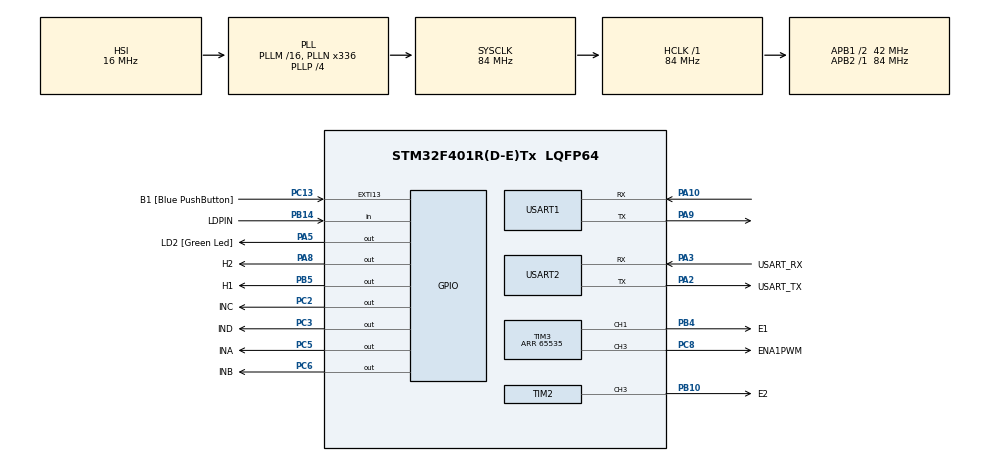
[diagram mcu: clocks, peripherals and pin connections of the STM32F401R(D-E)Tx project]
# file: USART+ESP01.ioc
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Mcu.Family=STM32F4
Mcu.Name=STM32F401R(D-E)Tx
Mcu.Package=LQFP64
NVIC.PriorityGroup=NVIC_PRIORITYGROUP_0
NVIC.USART1_IRQn=true\:0\:0\:false\:false\:true\:true\:true
PA10.Mode=Asynchronous
PA10.Signal=USART1_RX
PA13.GPIO_Label=TMS
PA13.Mode=Serial_Wire
PA13.Signal=SYS_JTMS-SWDIO
PA14.GPIO_Label=TCK
PA14.Mode=Serial_Wire
PA14.Signal=SYS_JTCK-SWCLK
PA2.GPIO_Label=USART_TX
PA2.GPIO_Mode=GPIO_MODE_AF_PP
PA2.GPIO_PuPd=GPIO_NOPULL
PA2.GPIO_Speed=GPIO_SPEED_FREQ_LOW
PA2.Mode=Asynchronous
PA2.Signal=USART2_TX
PA3.GPIO_Label=USART_RX
PA3.GPIO_Mode=GPIO_MODE_AF_PP
PA3.GPIO_PuPd=GPIO_NOPULL
PA3.GPIO_Speed=GPIO_SPEED_FREQ_LOW
PA3.Mode=Asynchronous
PA3.Signal=USART2_RX
PA5.GPIO_Label=LD2 [Green Led]
PA5.GPIO_Mode=GPIO_MODE_OUTPUT_PP
PA5.GPIO_PuPd=GPIO_NOPULL
PA5.GPIO_Speed=GPIO_SPEED_FREQ_LOW
PA5.Signal=GPIO_Output
PA8.GPIO_Label=H2
PA8.Signal=GPIO_Output
PA9.Mode=Asynchronous
PA9.Signal=USART1_TX
PB10.GPIO_Label=E2
PB10.GPIO_Speed=GPIO_SPEED_FREQ_HIGH
PB10.Signal=S_TIM2_CH3
PB14.GPIO_Label=LDPIN
PB14.GPIO_PuPd=GPIO_PULLDOWN
PB14.Signal=GPIO_Input
PB3.GPIO_Label=SWO
PB3.Signal=SYS_JTDO-SWO
PB4.GPIO_Label=E1
PB4.GPIO_Speed=GPIO_SPEED_FREQ_HIGH
PB4.Signal=S_TIM3_CH1
PB5.GPIO_Label=H1
PB5.Signal=GPIO_Output
PC13-ANTI_TAMP.GPIO_Label=B1 [Blue PushButton]
PC13-ANTI_TAMP.GPIO_ModeDefaultEXTI=GPIO_MODE_IT_FALLING
PC13-ANTI_TAMP.GPIO_PuPd=GPIO_NOPULL
PC13-ANTI_TAMP.Signal=GPXTI13
PC14-OSC32_IN.Mode=LSE-External-Oscillator
PC14-OSC32_IN.Signal=RCC_OSC32_IN
PC15-OSC32_OUT.Mode=LSE-External-Oscillator
PC15-OSC32_OUT.Signal=RCC_OSC32_OUT
PC2.GPIO_Label=INC
PC2.Signal=GPIO_Output
PC3.GPIO_Label=IND
PC3.Signal=GPIO_Output
PC5.GPIO_Label=INA
PC5.Signal=GPIO_Output
PC6.GPIO_Label=INB
PC6.Signal=GPIO_Output
PC8.GPIO_Label=ENA1PWM
PC8.GPIO_Speed=GPIO_SPEED_FREQ_HIGH
PC8.Signal=S_TIM3_CH3
PH0\ -\ OSC_IN.Mode=HSE-External-Clock-Source
PH0\ -\ OSC_IN.Signal=RCC_OSC_IN
PH1\ -\ OSC_OUT.Mode=HSE-External-Clock-Source
PH1\ -\ OSC_OUT.Signal=RCC_OSC_OUT
ProjectManager.HeapSize=0x200
ProjectManager.StackSize=0x400
ProjectManager.TargetToolchain=MDK-ARM V5.27
RCC.48MHZClocksFreq_Value=48000000
RCC.AHBFreq_Value=84000000
RCC.APB1CLKDivider=RCC_HCLK_DIV2
RCC.APB1Freq_Value=42000000
RCC.APB1TimFreq_Value=84000000
RCC.APB2Freq_Value=84000000
RCC.APB2TimFreq_Value=84000000
RCC.CortexFreq_Value=84000000
RCC.HCLKFreq_Value=84000000
RCC.HSE_VALUE=8000000
RCC.HSI_VALUE=16000000
RCC.PLLN=336
RCC.PLLP=RCC_PLLP_DIV4
RCC.PLLQ=7
RCC.SYSCLKFreq_VALUE=84000000
RCC.SYSCLKSource=RCC_SYSCLKSOURCE_PLLCLK
RCC.VCOOutputFreq_Value=336000000
SH.S_TIM2_CH3.0=TIM2_CH3,PWM Generation3 CH3
SH.S_TIM3_CH1.0=TIM3_CH1,PWM Generation1 CH1
SH.S_TIM3_CH3.0=TIM3_CH3,PWM Generation3 CH3
TIM2.Channel-PWM\ Generation3\ CH3=TIM_CHANNEL_3
TIM2.Period=65535
TIM3.Channel-PWM\ Generation1\ CH1=TIM_CHANNEL_1
TIM3.Channel-PWM\ Generation3\ CH3=TIM_CHANNEL_3
TIM3.Period=65535
USART1.VirtualMode=VM_ASYNC
USART2.VirtualMode=VM_ASYNC
VP_TIM2_VS_ClockSourceINT.Mode=Internal
board=NUCLEO-F401RE

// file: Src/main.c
/* USER CODE BEGIN Header */
/**
  ******************************************************************************
  * @file           : main.c
  * @brief          : Main program body
  ******************************************************************************
  * @attention
  *
  * <h2><center>&copy; Copyright (c) 2021 STMicroelectronics.
  * All rights reserved.</center></h2>
  *
  * This software component is licensed by ST under BSD 3-Clause license,
  * the "License"; You may not use this file except in compliance with the
  * License. You may obtain a copy of the License at:
  *                        opensource.org/licenses/BSD-3-Clause
  *
  ******************************************************************************
  */
/* USER CODE END Header */

#include "main.h"
#include "string.h"
#include "esp_01.h"
//#include "Setings.h"
#include <stdio.h>
#include <stdbool.h>
#include <stdlib.h>

/* USER CODE BEGIN PD */
#define SPEED_1      TIM3->CCR1//5
#define DIR_1        GPIOB,GPIO_PIN_5//4

#define SPEED_2      TIM2->CCR3//6
#define DIR_2        GPIOA,GPIO_PIN_8//7

#define RX_BUF_MASK 1024-1
/* USER CODE END PD */

TIM_HandleTypeDef htim2;
TIM_HandleTypeDef htim3;

UART_HandleTypeDef huart1;
UART_HandleTypeDef huart2;

void SystemClock_Config(void);
static void MX_GPIO_Init(void);
static void MX_USART2_UART_Init(void);
static void MX_USART1_UART_Init(void);
static void MX_TIM3_Init(void);
static void MX_TIM2_Init(void);
/* USER CODE BEGIN PFP */
void clear_rx_buf(void);
uint8_t check_answer(char *str,uint16_t wait);
void usart1_send_string(const char str[]);
void usart2_send_string(const char str[]);
void esp_Start2(void);
void ESP_AP_START(void);
void esp_Start(void);
void close_conections(void);
void usart1_reciv_string(void);
void recive(void);
void clear_Mess(void);
void MOVE(void);
void Start(void);

//-------------motor-------------
void forward(void);
void back(void);
void left(void);
void right(void);
void tank_left(void);
void tank_right(void);
void stop(void);
//-------------motor-------------
void parse_PAGE(void);
char AP_or_ST[] = "AP";// station - ST, access poin == AP
char *p1 = NULL,*p2 = NULL,*p3 = NULL,*p4 = NULL;
char apName[40]="";
char apPass[40]="";
char ipServer[40]="";
char typeAPorST[40]="";
bool flag_for_page =true;
const char acsessPoint[20]="Mi 9T Pro";
const char acsessPass[20]="qwertyuiop223";
const char serverIp [15]= "192.168.43.76";
const char conn_TCP2 []= "AT+CIPSTART=\"TCP\",\"192.168.43.76\",9076\r\n";

bool RC = true;// Kostil na vremja
uint16_t motor_speed = 65535;
uint32_t speed;

//void recive(void);
#define ITM_Port8(n)    (*((volatile unsigned char *)(0xE0000000+4*n)))
#define ITM_Port16(n)   (*((volatile unsigned short*)(0xE0000000+4*n)))
#define ITM_Port32(n)   (*((volatile unsigned long *)(0xE0000000+4*n)))
#define DEMCR           (*((volatile unsigned long *)(0xE000EDFC)))
#define TRCENA           0x01000000

struct __FILE { int handle;};
FILE __stdout;
FILE __stdin;

int fputc(int ch, FILE *f) {
   if (DEMCR & TRCENA) {

while (ITM_Port32(0) == 0){};
    ITM_Port8(0) = ch;
  }
  return(ch);
}

/* USER CODE END PFP */

/* USER CODE BEGIN 0 */
char test[] = "AT\r\n";
char sendbuf[50];
char rx_buf[1024]="";
volatile uint16_t rx_pos=0;

//const char conn_TCP2 []= "AT+CIPSTART=\"TCP\",\"192.168.8.100\",9076\r\n";
const uint16_t serverPort = 9076;

//+++++++++++++++++++++++++++++++++++++++++++++++++++++++++++++++++++++++++++++++//
//=================================SETTINGS======================================//
//+++++++++++++++++++++++++++++++++++++++++++++++++++++++++++++++++++++++++++++++//

char mess[50]="";

/* USER CODE END 0 */

int main(void)
{

  /* MCU Configuration--------------------------------------------------------*/

  /* Reset of all peripherals, Initializes the Flash interface and the Systick. */
  HAL_Init();

  /* Configure the system clock */
  SystemClock_Config();

  /* Initialize all configured peripherals */
  MX_GPIO_Init();
  MX_USART2_UART_Init();
  MX_USART1_UART_Init();
  MX_TIM3_Init();
  MX_TIM2_Init();

  /* Infinite loop */
 /* USER CODE BEGIN WHILE */
	uint8_t step=0;
	char str[] = "";
	char send[]="";
	//char test_string []= " hello";

__HAL_UART_ENABLE_IT(&huart1, UART_IT_RXNE);
	HAL_TIM_PWM_Start(&htim3, TIM_CHANNEL_1);// start PWM
	HAL_TIM_PWM_Start(&htim2, TIM_CHANNEL_3);// start PWM
	HAL_TIM_PWM_Start(&htim3, TIM_CHANNEL_3);// start PWM
//esp_Start();
//
uint32_t foto = 0;
sprintf(str,"%s%s","\r\nINIT FINISHED","\r\n");
usart2_send_string(str);
Start();

///////////////////////////////////////////////////////////////////ACCESS POINT/////////////////////////////////////////////////////////////////////////
/*
else if (strncmp(AP_or_ST, "AP", strlen(AP_or_ST))==0)// Start like Access Point
{

if(setting_ap == true)// configuring the robot via the browser
	{

	}
if (remote_control == true)
	{
		usart2_send_string("remote controll");
		usart2_send_string("Access point ip: ");
		//usart1_send_string(chek_ip);
		clear_rx_buf();
		while(1)
			{
				usart2_send_string(rx_buf);
				//clear_rx_buf();
				HAL_Delay(1000);
			}
	}
}
////////////////////////////////////////////////////////////////////////////////////////////////////////////////////////////////////////////ACCESS POINT
*/

//--------------------------------------- MOTOR TEST---------------------------------------------
	/*
	while(1)
		{

			usart2_send_string("Motor test 1\r\n");
			//motor 1
		  HAL_GPIO_WritePin(GPIOC,GPIO_PIN_8,GPIO_PIN_SET);
			HAL_GPIO_WritePin(GPIOC,GPIO_PIN_5,GPIO_PIN_SET);
			HAL_GPIO_WritePin(GPIOC,GPIO_PIN_6,GPIO_PIN_RESET);
			//motor 2
			HAL_GPIO_WritePin(GPIOC,GPIO_PIN_1,GPIO_PIN_SET);
			HAL_GPIO_WritePin(GPIOC,GPIO_PIN_2,GPIO_PIN_SET);
			HAL_GPIO_WritePin(GPIOC,GPIO_PIN_3,GPIO_PIN_RESET);
			usart2_send_string("Motor test 2\r\n");
			HAL_Delay(1000);
			//motor 1
			HAL_GPIO_WritePin(GPIOC,GPIO_PIN_8,GPIO_PIN_SET);
			HAL_GPIO_WritePin(GPIOC,GPIO_PIN_5,GPIO_PIN_RESET);
			HAL_GPIO_WritePin(GPIOC,GPIO_PIN_6,GPIO_PIN_SET);
			//motor 2
			HAL_GPIO_WritePin(GPIOC,GPIO_PIN_1,GPIO_PIN_SET);
			HAL_GPIO_WritePin(GPIOC,GPIO_PIN_2,GPIO_PIN_RESET);
			HAL_GPIO_WritePin(GPIOC,GPIO_PIN_3,GPIO_PIN_SET);
			usart2_send_string("Motor test 3\r\n");
			HAL_Delay(1000);
			//motor 1
			HAL_GPIO_WritePin(GPIOC,GPIO_PIN_8,GPIO_PIN_RESET);
			HAL_GPIO_WritePin(GPIOC,GPIO_PIN_5,GPIO_PIN_RESET);
			HAL_GPIO_WritePin(GPIOC,GPIO_PIN_6,GPIO_PIN_RESET);
			//motor 2
			HAL_GPIO_WritePin(GPIOC,GPIO_PIN_1,GPIO_PIN_RESET);
			HAL_GPIO_WritePin(GPIOC,GPIO_PIN_2,GPIO_PIN_RESET);
			HAL_GPIO_WritePin(GPIOC,GPIO_PIN_3,GPIO_PIN_RESET);
			HAL_Delay(1000);
			*/
			/*

			//motor 1
			HAL_GPIO_WritePin(GPIOC,GPIO_PIN_8,GPIO_PIN_SET);
			HAL_GPIO_WritePin(GPIOC,GPIO_PIN_5,GPIO_PIN_RESET);
			HAL_GPIO_WritePin(GPIOC,GPIO_PIN_6,GPIO_PIN_SET);
			//motor 2
			HAL_GPIO_WritePin(GPIOC,GPIO_PIN_1,GPIO_PIN_SET);
			HAL_GPIO_WritePin(GPIOC,GPIO_PIN_2,GPIO_PIN_SET);
			HAL_GPIO_WritePin(GPIOC,GPIO_PIN_3,GPIO_PIN_RESET);

			HAL_Delay(1000);

		};

		*/
//--------------------------------------- MOTOR TEST---------------------------------------------
  /* USER CODE END 3 */
}

/**
  * @brief System Clock Configuration
  * @retval None
  */
void SystemClock_Config(void)
{
  RCC_OscInitTypeDef RCC_OscInitStruct = {0};
  RCC_ClkInitTypeDef RCC_ClkInitStruct = {0};

  /** Configure the main internal regulator output voltage
  */
  __HAL_RCC_PWR_CLK_ENABLE();
  __HAL_PWR_VOLTAGESCALING_CONFIG(PWR_REGULATOR_VOLTAGE_SCALE2);
  /** Initializes the CPU, AHB and APB busses clocks
  */
  RCC_OscInitStruct.OscillatorType = RCC_OSCILLATORTYPE_HSI;
  RCC_OscInitStruct.HSIState = RCC_HSI_ON;
  RCC_OscInitStruct.HSICalibrationValue = RCC_HSICALIBRATION_DEFAULT;
  RCC_OscInitStruct.PLL.PLLState = RCC_PLL_ON;
  RCC_OscInitStruct.PLL.PLLSource = RCC_PLLSOURCE_HSI;
  RCC_OscInitStruct.PLL.PLLM = 16;
  RCC_OscInitStruct.PLL.PLLN = 336;
  RCC_OscInitStruct.PLL.PLLP = RCC_PLLP_DIV4;
  RCC_OscInitStruct.PLL.PLLQ = 7;
  if (HAL_RCC_OscConfig(&RCC_OscInitStruct) != HAL_OK)
  {
    Error_Handler();
  }
  /** Initializes the CPU, AHB and APB busses clocks
  */
  RCC_ClkInitStruct.ClockType = RCC_CLOCKTYPE_HCLK|RCC_CLOCKTYPE_SYSCLK
                              |RCC_CLOCKTYPE_PCLK1|RCC_CLOCKTYPE_PCLK2;
  RCC_ClkInitStruct.SYSCLKSource = RCC_SYSCLKSOURCE_PLLCLK;
  RCC_ClkInitStruct.AHBCLKDivider = RCC_SYSCLK_DIV1;
  RCC_ClkInitStruct.APB1CLKDivider = RCC_HCLK_DIV2;
  RCC_ClkInitStruct.APB2CLKDivider = RCC_HCLK_DIV1;

  if (HAL_RCC_ClockConfig(&RCC_ClkInitStruct, FLASH_LATENCY_2) != HAL_OK)
  {
    Error_Handler();
  }
}

/**
  * @brief TIM2 Initialization Function
  * @param None
  * @retval None
  */
static void MX_TIM2_Init(void)
{

  /* USER CODE BEGIN TIM2_Init 0 */

  /* USER CODE END TIM2_Init 0 */

  TIM_ClockConfigTypeDef sClockSourceConfig = {0};
  TIM_MasterConfigTypeDef sMasterConfig = {0};
  TIM_OC_InitTypeDef sConfigOC = {0};

  /* USER CODE BEGIN TIM2_Init 1 */

  /* USER CODE END TIM2_Init 1 */
  htim2.Instance = TIM2;
  htim2.Init.Prescaler = 0;
  htim2.Init.CounterMode = TIM_COUNTERMODE_UP;
  htim2.Init.Period = 65535;
  htim2.Init.ClockDivision = TIM_CLOCKDIVISION_DIV1;
  htim2.Init.AutoReloadPreload = TIM_AUTORELOAD_PRELOAD_DISABLE;
  if (HAL_TIM_Base_Init(&htim2) != HAL_OK)
  {
    Error_Handler();
  }
  sClockSourceConfig.ClockSource = TIM_CLOCKSOURCE_INTERNAL;
  if (HAL_TIM_ConfigClockSource(&htim2, &sClockSourceConfig) != HAL_OK)
  {
    Error_Handler();
  }
  if (HAL_TIM_PWM_Init(&htim2) != HAL_OK)
  {
    Error_Handler();
  }
  sMasterConfig.MasterOutputTrigger = TIM_TRGO_RESET;
  sMasterConfig.MasterSlaveMode = TIM_MASTERSLAVEMODE_DISABLE;
  if (HAL_TIMEx_MasterConfigSynchronization(&htim2, &sMasterConfig) != HAL_OK)
  {
    Error_Handler();
  }
  sConfigOC.OCMode = TIM_OCMODE_PWM1;
  sConfigOC.Pulse = 0;
  sConfigOC.OCPolarity = TIM_OCPOLARITY_HIGH;
  sConfigOC.OCFastMode = TIM_OCFAST_DISABLE;
  if (HAL_TIM_PWM_ConfigChannel(&htim2, &sConfigOC, TIM_CHANNEL_3) != HAL_OK)
  {
    Error_Handler();
  }
  /* USER CODE BEGIN TIM2_Init 2 */

  /* USER CODE END TIM2_Init 2 */
  HAL_TIM_MspPostInit(&htim2);

}

/**
  * @brief TIM3 Initialization Function
  * @param None
  * @retval None
  */
static void MX_TIM3_Init(void)
{

  /* USER CODE BEGIN TIM3_Init 0 */

  /* USER CODE END TIM3_Init 0 */

  TIM_MasterConfigTypeDef sMasterConfig = {0};
  TIM_OC_InitTypeDef sConfigOC = {0};

  /* USER CODE BEGIN TIM3_Init 1 */

  /* USER CODE END TIM3_Init 1 */
  htim3.Instance = TIM3;
  htim3.Init.Prescaler = 0;
  htim3.Init.CounterMode = TIM_COUNTERMODE_UP;
  htim3.Init.Period = 65535;
  htim3.Init.ClockDivision = TIM_CLOCKDIVISION_DIV1;
  htim3.Init.AutoReloadPreload = TIM_AUTORELOAD_PRELOAD_DISABLE;
  if (HAL_TIM_PWM_Init(&htim3) != HAL_OK)
  {
    Error_Handler();
  }
  sMasterConfig.MasterOutputTrigger = TIM_TRGO_RESET;
  sMasterConfig.MasterSlaveMode = TIM_MASTERSLAVEMODE_DISABLE;
  if (HAL_TIMEx_MasterConfigSynchronization(&htim3, &sMasterConfig) != HAL_OK)
  {
    Error_Handler();
  }
  sConfigOC.OCMode = TIM_OCMODE_PWM1;
  sConfigOC.Pulse = 0;
  sConfigOC.OCPolarity = TIM_OCPOLARITY_HIGH;
  sConfigOC.OCFastMode = TIM_OCFAST_DISABLE;
  if (HAL_TIM_PWM_ConfigChannel(&htim3, &sConfigOC, TIM_CHANNEL_1) != HAL_OK)
  {
    Error_Handler();
  }
  if (HAL_TIM_PWM_ConfigChannel(&htim3, &sConfigOC, TIM_CHANNEL_3) != HAL_OK)
  {
    Error_Handler();
  }
  /* USER CODE BEGIN TIM3_Init 2 */

  /* USER CODE END TIM3_Init 2 */
  HAL_TIM_MspPostInit(&htim3);

}

/**
  * @brief USART1 Initialization Function
  * @param None
  * @retval None
  */
static void MX_USART1_UART_Init(void)
{

  /* USER CODE BEGIN USART1_Init 0 */

  /* USER CODE END USART1_Init 0 */

  /* USER CODE BEGIN USART1_Init 1 */

  /* USER CODE END USART1_Init 1 */
  huart1.Instance = USART1;
  huart1.Init.BaudRate = 115200;
  huart1.Init.WordLength = UART_WORDLENGTH_8B;
  huart1.Init.StopBits = UART_STOPBITS_1;
  huart1.Init.Parity = UART_PARITY_NONE;
  huart1.Init.Mode = UART_MODE_TX_RX;
  huart1.Init.HwFlowCtl = UART_HWCONTROL_NONE;
  huart1.Init.OverSampling = UART_OVERSAMPLING_16;
  if (HAL_UART_Init(&huart1) != HAL_OK)
  {
    Error_Handler();
  }
  /* USER CODE BEGIN USART1_Init 2 */

  /* USER CODE END USART1_Init 2 */

}

/**
  * @brief USART2 Initialization Function
  * @param None
  * @retval None
  */
static void MX_USART2_UART_Init(void)
{

  /* USER CODE BEGIN USART2_Init 0 */

  /* USER CODE END USART2_Init 0 */

  /* USER CODE BEGIN USART2_Init 1 */

  /* USER CODE END USART2_Init 1 */
  huart2.Instance = USART2;
  huart2.Init.BaudRate = 115200;
  huart2.Init.WordLength = UART_WORDLENGTH_8B;
  huart2.Init.StopBits = UART_STOPBITS_1;
  huart2.Init.Parity = UART_PARITY_NONE;
  huart2.Init.Mode = UART_MODE_TX_RX;
  huart2.Init.HwFlowCtl = UART_HWCONTROL_NONE;
  huart2.Init.OverSampling = UART_OVERSAMPLING_16;
  if (HAL_UART_Init(&huart2) != HAL_OK)
  {
    Error_Handler();
  }
  /* USER CODE BEGIN USART2_Init 2 */

  /* USER CODE END USART2_Init 2 */

}

/**
  * @brief GPIO Initialization Function
  * @param None
  * @retval None
  */
static void MX_GPIO_Init(void)
{
  GPIO_InitTypeDef GPIO_InitStruct = {0};

  /* GPIO Ports Clock Enable */
  __HAL_RCC_GPIOC_CLK_ENABLE();
  __HAL_RCC_GPIOH_CLK_ENABLE();
  __HAL_RCC_GPIOA_CLK_ENABLE();
  __HAL_RCC_GPIOB_CLK_ENABLE();

  /*Configure GPIO pin Output Level */
  HAL_GPIO_WritePin(GPIOC, INC_Pin|IND_Pin|INA_Pin|INB_Pin, GPIO_PIN_RESET);

  /*Configure GPIO pin Output Level */
  HAL_GPIO_WritePin(GPIOA, LD2_Pin|H2_Pin, GPIO_PIN_RESET);

  /*Configure GPIO pin Output Level */
  HAL_GPIO_WritePin(H1_GPIO_Port, H1_Pin, GPIO_PIN_RESET);

  /*Configure GPIO pin : B1_Pin */
  GPIO_InitStruct.Pin = B1_Pin;
  GPIO_InitStruct.Mode = GPIO_MODE_IT_FALLING;
  GPIO_InitStruct.Pull = GPIO_NOPULL;
  HAL_GPIO_Init(B1_GPIO_Port, &GPIO_InitStruct);

  /*Configure GPIO pins : INC_Pin IND_Pin INA_Pin INB_Pin */
  GPIO_InitStruct.Pin = INC_Pin|IND_Pin|INA_Pin|INB_Pin;
  GPIO_InitStruct.Mode = GPIO_MODE_OUTPUT_PP;
  GPIO_InitStruct.Pull = GPIO_NOPULL;
  GPIO_InitStruct.Speed = GPIO_SPEED_FREQ_LOW;
  HAL_GPIO_Init(GPIOC, &GPIO_InitStruct);

  /*Configure GPIO pins : LD2_Pin H2_Pin */
  GPIO_InitStruct.Pin = LD2_Pin|H2_Pin;
  GPIO_InitStruct.Mode = GPIO_MODE_OUTPUT_PP;
  GPIO_InitStruct.Pull = GPIO_NOPULL;
  GPIO_InitStruct.Speed = GPIO_SPEED_FREQ_LOW;
  HAL_GPIO_Init(GPIOA, &GPIO_InitStruct);

  /*Configure GPIO pin : LDPIN_Pin */
  GPIO_InitStruct.Pin = LDPIN_Pin;
  GPIO_InitStruct.Mode = GPIO_MODE_INPUT;
  GPIO_InitStruct.Pull = GPIO_PULLDOWN;
  HAL_GPIO_Init(LDPIN_GPIO_Port, &GPIO_InitStruct);

  /*Configure GPIO pin : H1_Pin */
  GPIO_InitStruct.Pin = H1_Pin;
  GPIO_InitStruct.Mode = GPIO_MODE_OUTPUT_PP;
  GPIO_InitStruct.Pull = GPIO_NOPULL;
  GPIO_InitStruct.Speed = GPIO_SPEED_FREQ_LOW;
  HAL_GPIO_Init(H1_GPIO_Port, &GPIO_InitStruct);

}

/* USER CODE BEGIN 4 */
void USART1_IRQHandler(void){
    unsigned char rx_b;
    if (USART1->SR & USART_SR_RXNE)
	{
		    rx_b = USART1->DR;
		    rx_buf[rx_pos++]=rx_b;//extern
	     	rx_pos &= RX_BUF_MASK;
		   	printf("%c",rx_b);
	}
      rx_buf[rx_pos+1]='\0';
}

void clear_rx_buf(void){
 for(;rx_pos!=0;rx_pos--)
		rx_buf[rx_pos]='\0';
	rx_pos=0;
	//usart2_send_string("Buff clear");
}

void clear_Mess(void){
 for(uint16_t i = 0;i < 50;i++)
	mess[i]='\0';
	//rx_pos=0;
}
void usart1_send_string(const char str[]){
HAL_UART_Transmit(&huart1,(uint8_t*)str,strlen(str),100);
}

void usart2_send_string(const char str[]){
HAL_UART_Transmit(&huart2,(uint8_t*)str,strlen(str),100);
}

void usart1_reciv_string(){
HAL_UART_Receive_IT(&huart1,(uint8_t*)rx_buf,1024);
//HAL_UART_Transmit(&huart1,(uint8_t*)str,strlen(str),100);
}

void back(void)
{
HAL_GPIO_WritePin(DIR_1,GPIO_PIN_SET);
HAL_GPIO_WritePin(DIR_2,GPIO_PIN_SET);
SPEED_2 = SPEED_1 = motor_speed;
usart2_send_string("Back\r\n");
};
void forward(void)
{
HAL_GPIO_WritePin(DIR_1,GPIO_PIN_RESET);
HAL_GPIO_WritePin(DIR_2,GPIO_PIN_RESET);
SPEED_2 = SPEED_1 = motor_speed;
usart2_send_string("Forward\r\n");
};
void right(void)
{
HAL_GPIO_WritePin(DIR_1,GPIO_PIN_SET);
HAL_GPIO_WritePin(DIR_2,GPIO_PIN_RESET);
SPEED_2 = SPEED_1 = motor_speed;
usart2_send_string("Right\r\n");
};
void left(void)
{
HAL_GPIO_WritePin(DIR_1,GPIO_PIN_RESET);
HAL_GPIO_WritePin(DIR_2,GPIO_PIN_SET);
SPEED_2 = SPEED_1 = motor_speed;
usart2_send_string("Left \r\n");
};
void tank_left(void)
{
HAL_GPIO_WritePin(DIR_1,GPIO_PIN_SET);
SPEED_1 = motor_speed;
SPEED_2 = 0;
usart2_send_string("Tank Left\r\n");
};
void tank_right(void)
{
HAL_GPIO_WritePin(DIR_2,GPIO_PIN_SET);
SPEED_1 = 0;
SPEED_2 = motor_speed;
usart2_send_string("Tank Right\r\n");
};

void stop(void)
{
HAL_GPIO_WritePin(DIR_1,GPIO_PIN_SET);
HAL_GPIO_WritePin(DIR_2,GPIO_PIN_SET);
SPEED_1 = 0;
SPEED_2 = 0;
usart2_send_string("Stop\r\n");
};
void MOVE()
{
//if(check_answer("f",100))
clear_rx_buf();
if(strstr(rx_buf,"b"))
			{
				while(1)
					{
						back();
						if(strstr(rx_buf,"z"))
							{
								stop();
								break;
							}
					}
					clear_rx_buf();
			}

	//else if(check_answer("b",100))
		else if(strstr(rx_buf,"f"))
			{
				while(1)
					{
						forward();
						if(strstr(rx_buf,"z"))
							{
								stop();
								break;
							}
					}
					clear_rx_buf();
			}
	//else if(check_answer("r",100))
		else if(strstr(rx_buf,"r"))
			{
				while(1)
					{
						right();
						if(strstr(rx_buf,"z"))
							{
								stop();
								break;
							}
					}
					clear_rx_buf();
			}
	//else if(check_answer("l",100))
		else if(strstr(rx_buf,"l"))
			{
				while(1)
					{
						left();
						if(strstr(rx_buf,"z"))
							{
								stop();
								break;
							}
					}
					clear_rx_buf();
			}
	//else if(check_answer("TL",100))
		else if(strstr(rx_buf,"q"))
			{
				while(1)
					{
						tank_left();
						if(strstr(rx_buf,"z"))
							{
								stop();
								break;
							}
					}
					clear_rx_buf();
			}

//else if(check_answer("TR",100))
	else if(strstr(rx_buf,"e"))
			{
				while(1)
					{
						tank_right();
						if(strstr(rx_buf,"z"))
							{
								stop();
								break;
							}
					}
					clear_rx_buf();
			}
}

uint8_t check_answer(char *str,uint16_t wait){
uint32_t time_Ms_Now = HAL_GetTick();
char *istr = NULL;
	while(istr==NULL && ((HAL_GetTick()-time_Ms_Now)< wait)){
			istr=strstr(rx_buf,str);
		}
		if(istr!=NULL){

			if (strncmp(AP_or_ST, "ST", strlen(AP_or_ST))==0)clear_rx_buf();
			return 1;
		}else return 0;
}
//---------------------------------------------ESP START LIKE AP---------------------------------------------------------
	void ESP_AP_START(void){
uint8_t step=0;
while(1){

	switch(step){
		 case(0):
			usart2_send_string("send_string(at_test)\r\n");
		 usart1_send_string(at_test);
			if (check_answer("OK",1000))step++;
		break;
		case(1):
			usart2_send_string("send_string(echoOff)\r\n");
			usart1_send_string(echoOff);
			if (check_answer("OK",1000))
				step++;
		break;
		case(2):
			usart2_send_string("send_string(multip_Conn)\r\n");
			usart1_send_string(multip_Conn);
			if (check_answer("OK",3000))
				step++;
		break;
		case(3):
			usart2_send_string("send_string(esp_Mode)\r\n");
			usart1_send_string(esp_Mode_AP);
			if (check_answer("OK",3000))
				step++;
		break;
		case(4):
			//usart2_send_string("send_string(restart)\r\n");
			//usart1_send_string(restart);
		  HAL_Delay(2500);
      //clear_rx_buf();
      step++;
		break;
		case(5):
			usart2_send_string("send_string(start_AP)\r\n");
			usart1_send_string(start_AP);
			if (check_answer("OK",3000))
				step++;
		case(6):
			usart2_send_string("send_string(start_Server)\r\n");
			usart1_send_string(start_Server);
			if (check_answer("OK",3000))
				step++;
		case(7):
			usart2_send_string("send_string(get_IP)\r\n");
			usart1_send_string(get_IP);
			if (check_answer("+CIFSR:",5000))
				step++;

	}
if (step==8)
	{
		usart2_send_string("Access point is ready\r\n");
		break;
	}
	HAL_Delay(200);
 }
}
//---------------------------------------------ESP START LIKE AP---------------------------------------------------------

//---------------------------------------------PARSE_PAGE----------------------------------------------------------------
void parse_PAGE(void)
{
int size_str=sizeof("apName");
p1=strstr(rx_buf,"apName=");
p2=strstr(rx_buf,"apPass=");
p3=strstr(rx_buf,"apIP=");
p4=strstr(rx_buf,"type=");
//p3=strstr(rx_buf,"ip=");
int i=0;
while(p1[size_str]!='&')
{
    apName[i] = p1[size_str];
    i++;
    size_str++;
}

usart2_send_string("AP settings:\r\n");

usart2_send_string("BSSID: ");
usart2_send_string(apName);

size_str = sizeof("apPass");
i=0;
while(p2[size_str]!='&') // while(p2[size_str]!=' ')
{
    apPass[i] = p2[size_str];
    i++;
    size_str++;
}

usart2_send_string("\r\n");
usart2_send_string("PASSWORD: ");
usart2_send_string(apPass);
usart2_send_string("\r\n");
i=0;
size_str = sizeof("apIP");
while(p3[size_str]!='&')
{
   ipServer[i] = p3[size_str];
    i++;
    size_str++;
}

usart2_send_string("IP: ");
usart2_send_string(ipServer);
usart2_send_string("\r\n");

i=0;
size_str = sizeof("type");
while(p4[size_str]!=' ')
{
   typeAPorST[i] = p4[size_str];
    i++;
    size_str++;
}
usart2_send_string("TYPE: ");
usart2_send_string(typeAPorST);
usart2_send_string("\r\n");
usart2_send_string(rx_buf);
usart2_send_string("============\r\n");
clear_rx_buf();

}
//---------------------------------------------PARSE_PAGE----------------------------------------------------------------

//===========================close all conection=================================//
void close_conections(void){
int NUMconnect =4;
  while(NUMconnect!=0){
		 HAL_Delay(50);
	   usart1_send_string(close_All_Connections[NUMconnect--]);
   }
	usart2_send_string("ALL CONNECTION CLOSE");
}
//===========================close all conection=================================//

//---------------------------------------------ESP START LIKE STANTION---------------------------------------------------------
void esp_Start2(void){
//usart1_send_string(restart);
uint8_t step=0;

while(1){

	switch(step){
		 case(0):
			usart2_send_string("send_string(at_test)\r\n");
		 usart1_send_string(at_test);
			if (check_answer("OK",1000))step++;
		break;
		case(1):
			usart2_send_string("send_string(echoOff)\r\n");
			usart1_send_string(echoOff);
			if (check_answer("OK",1000))step++;
		break;
		case(2):
			usart2_send_string("send_string(station_mode)\r\n");
			usart1_send_string(station_mode);
			if (check_answer("OK",1000))step++;
		break;
		case(3):
		usart2_send_string("send_string(restart)\r\n");
			usart1_send_string(restart);
		  HAL_Delay(2500);
      clear_rx_buf();
      step++;
		break;
		case(4):
			usart2_send_string("send_string(conect_to_AP)\r\n");
			sprintf(sendbuf,"%s%s%s%s%s","AT+CWJAP=\"",acsessPoint,"\",\"",acsessPass,"\"\r\n");
		  usart1_send_string(sendbuf);
			if (check_answer("OK",10000))
			step++;
		break;
		case(5):
			usart2_send_string("send_string(conect_to_AP_ststus)\r\n");
			usart1_send_string(conect_AP_status);
		  if (check_answer("OK",5000))step++;
		break;
		case(6):
			usart2_send_string("send_string(get_IP)\r\n");
			usart1_send_string(get_IP);
		  if (check_answer("OK",1000))step++;
		break;
		case(7):
			usart2_send_string("NoMultConn\r\n");
			usart1_send_string(NoMultConn);
		  if (check_answer("OK",1000))step++;
		break;
		case(8):
			usart2_send_string("connect to server\r\n");
		  usart1_send_string(conn_TCP2);          // connect to server
		  if (check_answer("CONNECT",3000))
					step++;
		break;
			case(9):
				usart2_send_string("info about connect:\r\n");
				usart1_send_string(info);          // connect to server
			HAL_UART_Transmit(&huart2,(uint8_t*)rx_buf,strlen(rx_buf),1000);
		  if (check_answer("OK",1000))
				{
					step++;
				}
		break;
	}
if (step==10)break;
	HAL_Delay(200);
 }
}
//---------------------------------------------ESP START LIKE STANTION---------------------------------------------------------

	void esp_Start(void){

			usart2_send_string("send_string(at_test)\r\n");
		 usart1_send_string(at_test);
			usart2_send_string("send_string(echoOff)\r\n");
			usart1_send_string(echoOff);
			usart2_send_string("send_string(station_mode)\r\n");
			usart1_send_string(station_mode);
		usart2_send_string("send_string(restart)\r\n");
			usart1_send_string(restart);
		  HAL_Delay(2500);
      clear_rx_buf();
			usart2_send_string("send_string(conect_to_AP)\r\n");
			sprintf(sendbuf,"%s%s%s%s%s","AT+CWJAP=\"",acsessPoint,"\",\"",acsessPass,"\"\r\n");
		  usart1_send_string(sendbuf);
			usart2_send_string("send_string(conect_to_AP_ststus)\r\n");
			usart1_send_string(conect_AP_status);
			usart2_send_string("send_string(get_IP)\r\n");
			usart1_send_string(get_IP);
			usart2_send_string("NoMultConn\r\n");
			usart1_send_string(NoMultConn);
			usart2_send_string("connect to server\r\n");
		  usart1_send_string(conn_TCP2);          // connect to server
				usart2_send_string("info about connect:\r\n");
				usart1_send_string(info);          // connect to server
			HAL_UART_Transmit(&huart2,(uint8_t*)rx_buf,strlen(rx_buf),1000);

}
void Start(void)
{
char str[] = "";
char send[]="";
char CHIP[] = "";
//HAL_Delay(5000);
usart2_send_string("send_string(restart)\r\n");
usart1_send_string(restart);
HAL_Delay(2500);
clear_rx_buf();
usart2_send_string("Start INIT\r\n");
ESP_AP_START(); // start like Access point
if (RC!=true)
	{
			while(1) // start WEB page
		{
			//usart2_send_string(rx_buf);
			if(check_answer("GET / HTTP/1.1",100) && flag_for_page==true)
				{
					//usart2_send_string(send_buf);
					sprintf(CHIP,"%s%d%c%d%s","AT+CIPSEND=",0,',',strlen(text),"\r\n");
					usart2_send_string(CHIP);
					usart1_send_string(CHIP);
					HAL_Delay(50);
					if(check_answer(">",500))
						{
							//clear_rx_buf();
							//usart2_send_string("Second CP\r\n");
							clear_rx_buf();
							usart1_send_string(text);
							HAL_Delay(50);
							if(check_answer("OK", 1000))
								{
									HAL_Delay(50);
									//usart2_send_string(rx_buf);
									clear_rx_buf();
									flag_for_page=false;
								}
						}//close_conections();

			//usart1_send_string(close_conn);
				}
			else if(check_answer("GET /AP?",100)==1 && flag_for_page==false)
				{
					flag_for_page=true;
					// usart2_send_string("SUBMIT eeeeeeeeeeeee");
					usart2_send_string("\r\n");
					usart2_send_string(rx_buf);
					usart2_send_string("\r\n");
					parse_PAGE();
					//usart2_send_string(p2);
					//close_conections();
					clear_rx_buf();
					HAL_Delay(50);
					break;
				}
			//usart2_send_string(rx_buf);
		}
	usart2_send_string(rx_buf);
	usart2_send_string("okey");

	}
if (strstr(typeAPorST,"ST"))// start like Statione and connect to server
		{
      ///////////////////////////////////////////////////////////////////STATION/////////////////////////////////////////////////////////////////////////
      //HAL_UART_Transmit(&huart2,(uint8_t*)str,strlen(str),1000);
			usart2_send_string("ST starting\r\n");
			esp_Start2(); // start like stantion
			char send_[]="im STM";
			char *tok;
			char mess[50]="";
			uint16_t some_data = 777;
			uint8_t Flag= 1;

			while (1)
				{
					if(Flag==1)// first message for connect
						{
							sprintf(mess,"%s%c",send_,'\0');
							if(DEBUG)printf("adc_value = %s\r\n", mess);
							if(DEBUG)printf("send_TSP_sizeof_message\r\n");
							sprintf(sendbuf,"%s%d%s%c",send_TSP,strlen(mess),"\r\n",'\0');
							usart1_send_string(sendbuf);
							HAL_Delay(50);
							if(DEBUG)printf("send_TSP_message\r\n");
							usart1_send_string(mess);
							if(DEBUG)usart2_send_string(rx_buf);
							clear_Mess();
							if(check_answer("SEND OK",2000))
								{
									Flag=0;
									usart2_send_string("send END\r\n");
								}
						}
					 sprintf(mess,"%d%c",some_data,'\0');
					 if(DEBUG)printf("adc_value = %s\r\n", mess);
					 if(DEBUG)printf("send_TSP_sizeof_message\r\n");
					 sprintf(sendbuf,"%s%d%s%c",send_TSP,strlen(mess),"\r\n",'\0');
					 usart1_send_string(sendbuf);
					 HAL_Delay(50);
           usart1_send_string(mess);
					 MOVE();

    /* USER CODE END WHILE */

    /* USER CODE BEGIN 3 */
				}
         ///////////////////////////////////////////////////////////////////STATION/////////////////////////////////////////////////////////////////////////
}

else if (strstr(typeAPorST,"AP") || RC == true)// start like Statione and connect to server
		{
			usart2_send_string("AP starting\r\n");
			ESP_AP_START();
			while(1)
				{
					MOVE();
				}
			//usart2_send_string("AP starting\r\n");
			//ESP_AP_START(); // start like Access point
			//sprintf(str,"%s%s","\r\nAP is enabled","\r\n");
			//HAL_UART_Transmit(&huart2,(uint8_t*)str,strlen(str),1000);
			//usart2_send_string("Chek HTML\r\n");
			//bool exit_from_chek_IP = false;
			//bool setting_ap = true ;// configuring the robot via the browser
			//bool remote_control = false;
			//int count = 0;
			//char html[] = "";
			//char CHIP[] = "";
			//char send_buf[] ="";
			//usart2_send_string(rx_buf);
		}
	}

/* USER CODE END 4 */

void Error_Handler(void)
{
}

/************************ (C) COPYRIGHT STMicroelectronics *****END OF FILE****/
